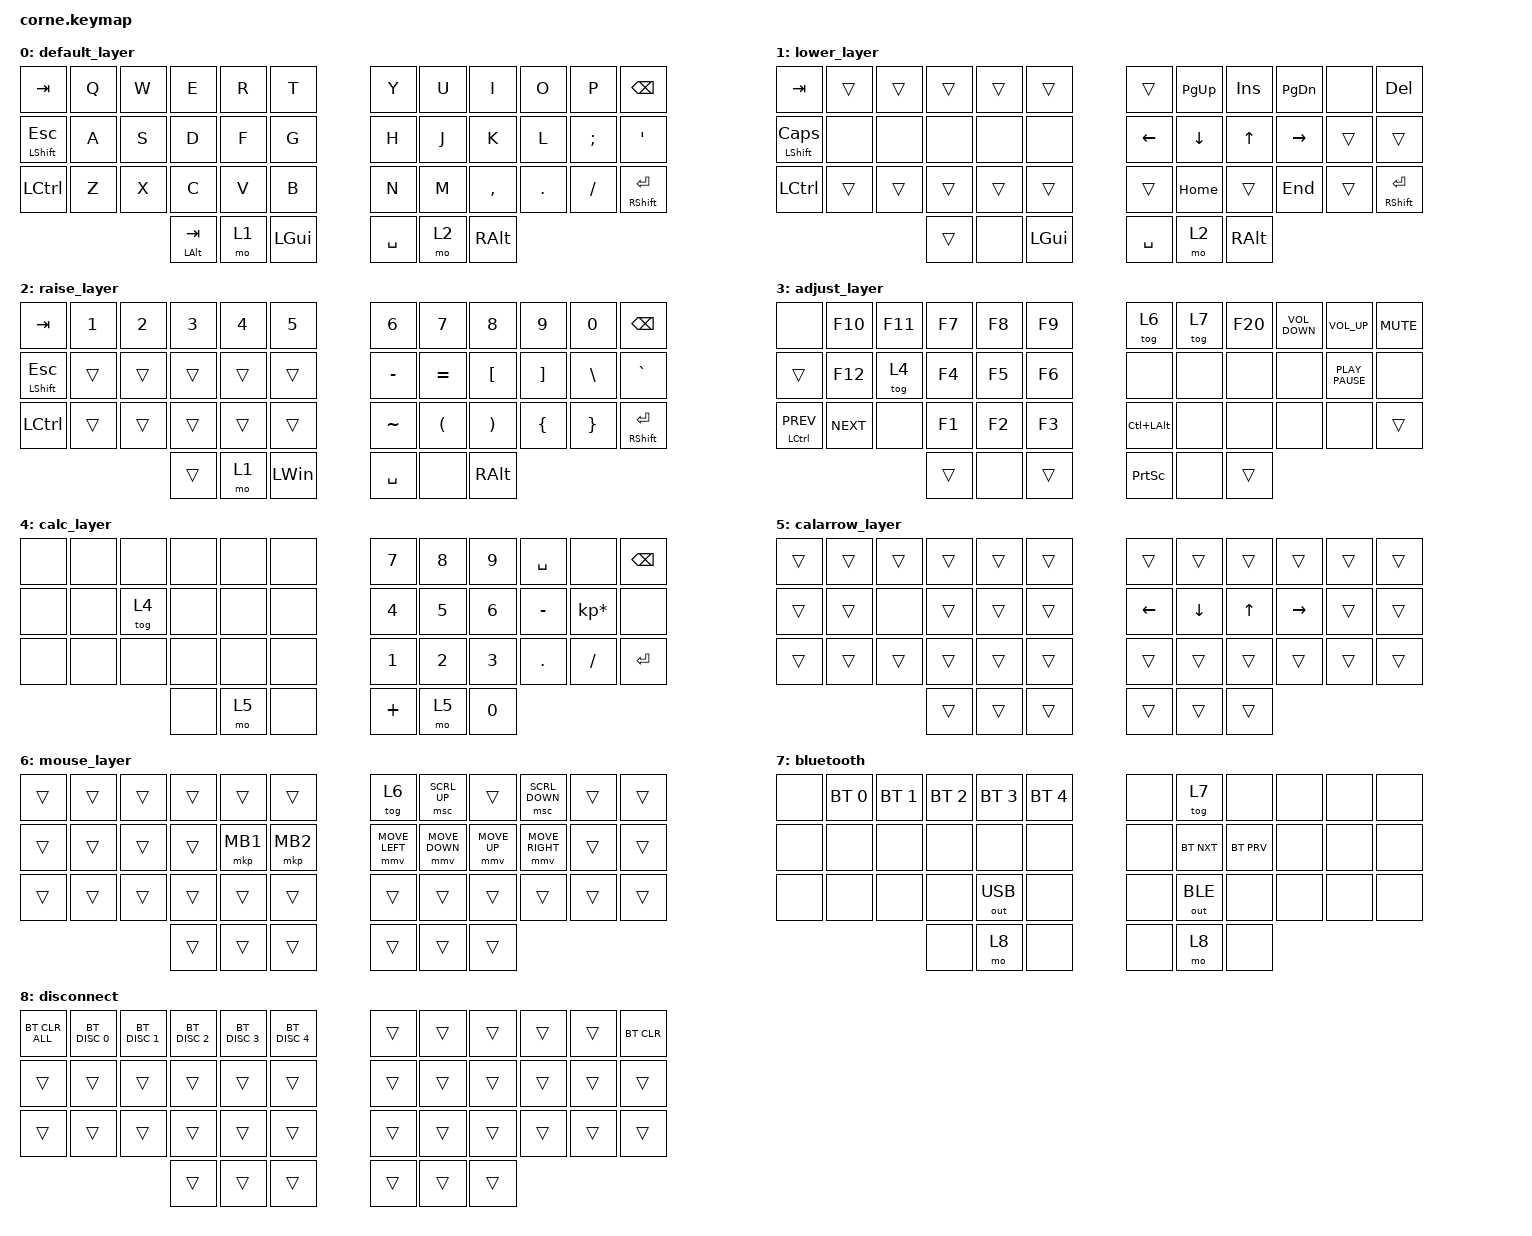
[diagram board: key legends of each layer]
/*
 * Copyright (c) 2020 The ZMK Contributors
 *
 * SPDX-License-Identifier: MIT
 */

#include <behaviors.dtsi>
#include <dt-bindings/zmk/bt.h>
#include <dt-bindings/zmk/keys.h>
#include <dt-bindings/zmk/outputs.h>
#include <dt-bindings/zmk/pointing.h>

/ {
    conditional_layers {
        compatible = "zmk,conditional-layers";
        tri_layer {
            if-layers = <1 2>;
            then-layer = <3>;
        };
    };

    keymap {
        compatible = "zmk,keymap";

        default_layer {
            // -----------------------------------------------------------------------------------------
            // |  TAB |  Q  |  W  |  E  |  R  |  T  |   |  Y  |  U   |  I  |  O  |  P  | BSPC |
            // | CTRL |  A  |  S  |  D  |  F  |  G  |   |  H  |  J   |  K  |  L  |  ;  |  '   |
            // | SHFT |  Z  |  X  |  C  |  V  |  B  |   |  N  |  M   |  ,  |  .  |  /  | ESC  |
            //                    | GUI | LWR | SPC |   | ENT | RSE  | ALT |

            bindings = <
&kp TAB           &kp Q  &kp W  &kp E             &kp R  &kp T       &kp Y      &kp U  &kp I      &kp O    &kp P     &kp BSPC
&mt LSHFT ESCAPE  &kp A  &kp S  &kp D             &kp F  &kp G       &kp H      &kp J  &kp K      &kp L    &kp SEMI  &kp SQT
&kp LCTRL         &kp Z  &kp X  &kp C             &kp V  &kp B       &kp N      &kp M  &kp COMMA  &kp DOT  &kp FSLH  &mt RSHFT RET
                                &mt LEFT_ALT TAB  &mo 1  &kp LGUI    &kp SPACE  &mo 2  &kp RALT
            >;
        };

        lower_layer {
            // -----------------------------------------------------------------------------------------
            // |  TAB |  1  |  2  |  3  |  4  |  5  |   |  6  |  7  |  8  |  9  |  0  | BSPC |
            // | BTCLR| BT1 | BT2 | BT3 | BT4 | BT5 |   | LFT | DWN |  UP | RGT |     |      |
            // | SHFT |     |     |     |     |     |   |     |     |     |     |     |      |
            //                    | GUI |     | SPC |   | ENT |     | ALT |

            bindings = <
&kp TAB         &trans  &trans  &trans  &trans  &trans      &trans     &kp PAGE_UP  &kp INS   &kp PAGE_DOWN  &none   &kp DELETE
&mt LSHFT CAPS  &none   &none   &none   &none   &none       &kp LEFT   &kp DOWN     &kp UP    &kp RIGHT      &trans  &trans
&kp LCTRL       &trans  &trans  &trans  &trans  &trans      &trans     &kp HOME     &trans    &kp END        &trans  &mt RIGHT_SHIFT ENTER
                                &trans  &none   &kp LGUI    &kp SPACE  &mo 2        &kp RALT
            >;
        };

        raise_layer {
            // -----------------------------------------------------------------------------------------
            // |  TAB |  !  |  @  |  #  |  $  |  %  |   |  ^  |  &  |  *  |  (  |  )  | BSPC |
            // | CTRL |     |     |     |     |     |   |  -  |  =  |  [  |  ]  |  \  |  `   |
            // | SHFT |     |     |     |     |     |   |  _  |  +  |  {  |  }  | "|" |  ~   |
            //                    | GUI |     | SPC |   | ENT |     | ALT |

            bindings = <
&kp TAB           &kp N1  &kp N2  &kp N3  &kp N4  &kp N5      &kp N6     &kp N7                &kp N8                 &kp N9          &kp N0           &kp BSPC
&mt LSHFT ESCAPE  &trans  &trans  &trans  &trans  &trans      &kp MINUS  &kp EQUAL             &kp LBKT               &kp RBKT        &kp BSLH         &kp GRAVE
&kp LCTRL         &trans  &trans  &trans  &trans  &trans      &kp TILDE  &kp LEFT_PARENTHESIS  &kp RIGHT_PARENTHESIS  &kp LEFT_BRACE  &kp RIGHT_BRACE  &mt RSHFT RET
                                  &trans  &mo 1   &kp LWIN    &kp SPACE  &none                 &kp RALT
            >;
        };

        adjust_layer {
            bindings = <
&none             &kp F10     &kp F11  &kp F7  &kp F8  &kp F9    &tog 6            &tog 7  &kp F20 &kp K_VOLUME_DOWN  &kp K_VOLUME_UP   &kp K_MUTE
&trans            &kp F12     &tog 4   &kp F4  &kp F5  &kp F6    &none             &none   &none   &none              &kp K_PLAY_PAUSE  &none
&mt LCTRL K_PREV  &kp K_NEXT  &none    &kp F1  &kp F2  &kp F3    &kp LC(LEFT_ALT)  &none   &none   &none              &none             &trans
                                       &trans  &none   &trans    &kp PRINTSCREEN   &none   &trans
            >;
        };

        calc_layer {
            bindings = <
&none  &none  &none   &none  &none  &none    &kp N7    &kp N8  &kp N9        &kp SPACE  &none            &kp BACKSPACE
&none  &none  &tog 4  &none  &none  &none    &kp N4    &kp N5  &kp N6        &kp MINUS  &kp KP_ASTERISK  &none
&none  &none  &none   &none  &none  &none    &kp N1    &kp N2  &kp N3        &kp DOT    &kp FSLH         &kp RET
                      &none  &mo 5  &none    &kp PLUS  &mo 5   &kp NUMBER_0
            >;
        };

        calarrow_layer {
            bindings = <
&trans  &trans  &trans  &trans  &trans  &trans    &trans    &trans    &trans  &trans     &trans  &trans
&trans  &trans  &none   &trans  &trans  &trans    &kp LEFT  &kp DOWN  &kp UP  &kp RIGHT  &trans  &trans
&trans  &trans  &trans  &trans  &trans  &trans    &trans    &trans    &trans  &trans     &trans  &trans
                        &trans  &trans  &trans    &trans    &trans    &trans
            >;
        };

        mouse_layer {
            bindings = <
&trans  &trans  &trans  &trans  &trans    &trans      &tog 6          &msc SCRL_UP    &trans        &msc SCRL_DOWN   &trans  &trans
&trans  &trans  &trans  &trans  &mkp MB1  &mkp MB2    &mmv MOVE_LEFT  &mmv MOVE_DOWN  &mmv MOVE_UP  &mmv MOVE_RIGHT  &trans  &trans
&trans  &trans  &trans  &trans  &trans    &trans      &trans          &trans          &trans        &trans           &trans  &trans
                        &trans  &trans    &trans      &trans          &trans          &trans
            >;
        };

        bluetooth {
            bindings = <
&none  &bt BT_SEL 0  &bt BT_SEL 1  &bt BT_SEL 2  &bt BT_SEL 3  &bt BT_SEL 4    &none  &tog 7      &none       &none  &none  &none
&none  &none         &none         &none         &none         &none           &none  &bt BT_NXT  &bt BT_PRV  &none  &none  &none
&none  &none         &none         &none         &out OUT_USB  &none           &none  &out OUT_BLE  &none       &none  &none  &none
                                   &none         &mo 8         &none           &none  &mo 8       &none
            >;
        };

        disconnect {
            bindings = <
&bt BT_CLR_ALL  &bt BT_DISC 0  &bt BT_DISC 1  &bt BT_DISC 2  &bt BT_DISC 3  &bt BT_DISC 4    &trans  &trans  &trans  &trans  &trans  &bt BT_CLR
&trans          &trans         &trans         &trans         &trans         &trans           &trans  &trans  &trans  &trans  &trans  &trans
&trans          &trans         &trans         &trans         &trans         &trans           &trans  &trans  &trans  &trans  &trans  &trans
                                              &trans         &trans         &trans           &trans  &trans  &trans
            >;
        };
    };
};
